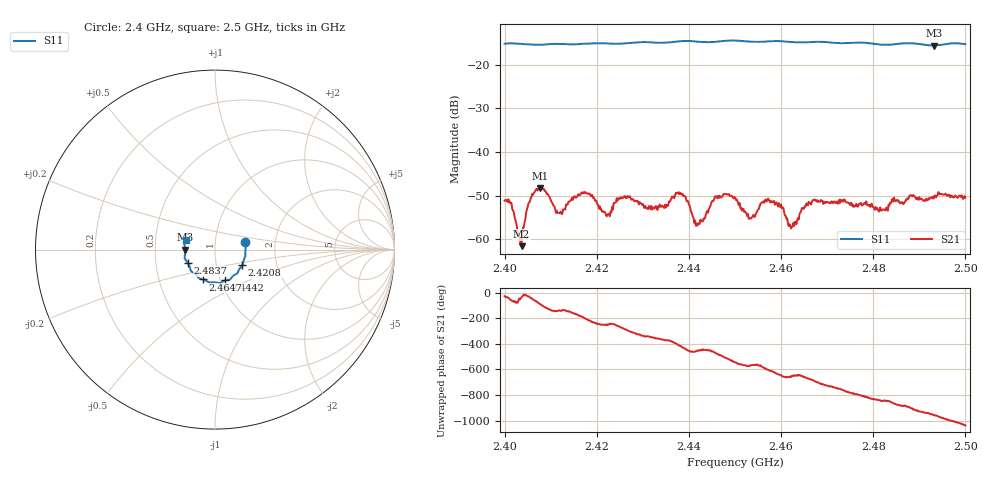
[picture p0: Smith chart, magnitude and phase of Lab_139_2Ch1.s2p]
# Hz S RI R 50
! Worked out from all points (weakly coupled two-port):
!   601 points, 2.4 GHz to 2.5 GHz, reference 50 ohm
!   highest |S21| = -48.30 dB at 2.4077 GHz (marker M1); lowest = -61.6 dB at 2.4037 GHz (marker M2)
!   lowest |S11| = -15.6 dB at 2.4932 GHz (marker M3), VSWR 1.40, Z = 35.8 - j0.0897 ohm
!   |S11| at or under -10 dB: start of sweep to end of sweep
!   S12 and S22 are empty: the file has one direction only
!   S11 on the Smith chart (normalised r, x): 2.4 GHz: 1.40, +0.12; 2.4208 GHz: 1.33, -0.24; 2.4442 GHz: 1.05, -0.37; 2.4647 GHz: 0.83, -0.29; 2.4837 GHz: 0.73, -0.11; 2.5 GHz: 0.72, +0.08
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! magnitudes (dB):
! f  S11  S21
! 2.4 GHz  -15.2  -51.2
! 2.4037 GHz  -15.3  -61.6
! 2.4055 GHz  -15.4  -51.4
! 2.4077 GHz  -15.4  -48.3
! 2.412 GHz  -15.2  -54.1
! 2.4167 GHz  -15.3  -49.3
! 2.4208 GHz  -15.1  -53.2
! 2.4263 GHz  -15.1  -50.6
! 2.4333 GHz  -15.0  -52.5
! 2.4377 GHz  -14.7  -49.2
! 2.4417 GHz  -14.7  -56.4
! 2.4442 GHz  -14.9  -53.9
! 2.45 GHz  -14.5  -50.5
! 2.4535 GHz  -14.7  -55.2
! 2.4585 GHz  -14.6  -51.2
! 2.462 GHz  -14.8  -56.9
! 2.4647 GHz  -14.9  -52.8
! 2.4667 GHz  -14.8  -51.5
! 2.4833 GHz  -15.5  -52.1
! 2.4837 GHz  -15.5  -51.6
! 2.4932 GHz  -15.6  -50.6
! 2.5 GHz  -15.3  -50.5
